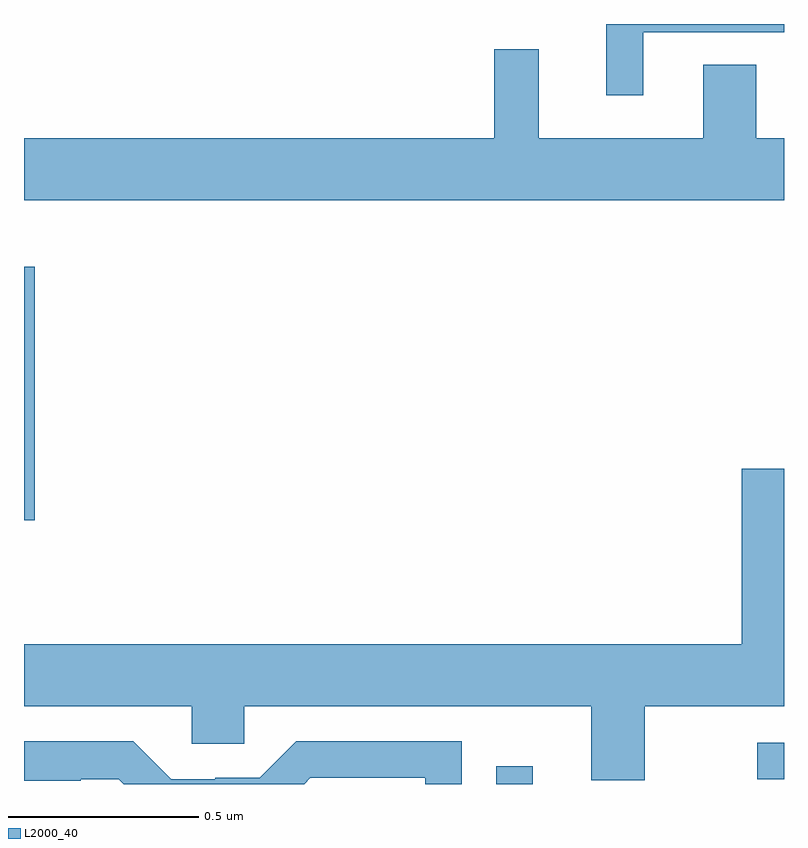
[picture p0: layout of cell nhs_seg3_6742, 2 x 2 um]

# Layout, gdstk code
import gdstk
lib = gdstk.Library(unit=1e-6, precision=1e-09)
def R(c, l, rs):  # rectangles x0, y0, x1, y1
    for r in rs: c.add(gdstk.rectangle(r[:2], r[2:], *l))
def P(c, l, *ps):  # polygons
    for p in ps: c.add(gdstk.Polygon(p, *l))
L2000_40 = (2000, 40)

nhs_seg3_6742 = lib.new_cell('nhs_seg3_6742')
R(nhs_seg3_6742, L2000_40, [(196.243,679.4,196.339,679.447), (196.929,679.413,197,679.509), (195,680.094,195.028,680.761)])
P(nhs_seg3_6742, L2000_40, [(196.63,681.378),(197,681.378),(197,681.4),(196.532,681.4),(196.532,681.213),(196.63,681.213)],
  [(197,681.1),(196.927,681.1),(196.927,681.293),(196.787,681.293),(196.787,681.1),(196.355,681.1),(196.355,681.334),(196.237,681.334),(196.237,681.1),(195,681.1),(195,680.936),(197,680.936)],
  [(196.633,679.604),(197,679.604),(197,680.23),(196.889,680.23),(196.889,679.768),(195,679.768),(195,679.604),(195.441,679.604),(195.441,679.506),(195.579,679.506),(195.579,679.604),(196.493,679.604),(196.493,679.41),(196.633,679.41)],
  [(195.753,679.416),(196.056,679.416),(196.056,679.4),(196.152,679.4),(196.152,679.512),(195.717,679.512),(195.621,679.416),(195.503,679.416),(195.503,679.413),(195.387,679.413),(195.287,679.513),(195,679.513),(195,679.409),(195.149,679.409),(195.149,679.413),(195.249,679.413),(195.262,679.4),(195.737,679.4)])

lib.write_gds('nhs_seg3_6742.gds')
